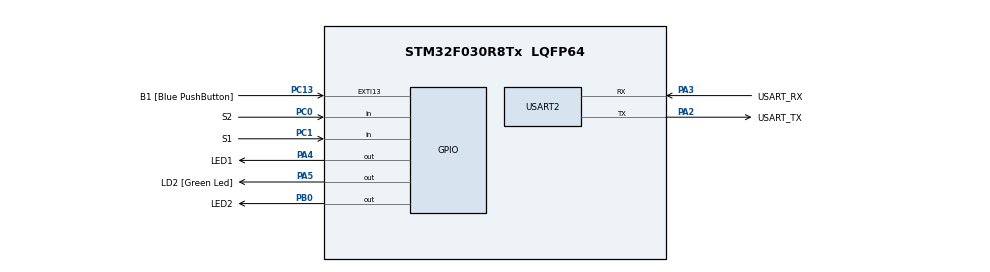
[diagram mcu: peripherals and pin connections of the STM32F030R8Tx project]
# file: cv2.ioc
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Mcu.Family=STM32F0
Mcu.Name=STM32F030R8Tx
Mcu.Package=LQFP64
PA13.GPIO_Label=TMS
PA13.Mode=Serial_Wire
PA13.Signal=SYS_SWDIO
PA14.GPIO_Label=TCK
PA14.Mode=Serial_Wire
PA14.Signal=SYS_SWCLK
PA2.GPIO_Label=USART_TX
PA2.GPIO_Mode=GPIO_MODE_AF_PP
PA2.GPIO_PuPd=GPIO_NOPULL
PA2.GPIO_Speed=GPIO_SPEED_FREQ_LOW
PA2.Mode=Asynchronous
PA2.Signal=USART2_TX
PA3.GPIO_Label=USART_RX
PA3.GPIO_Mode=GPIO_MODE_AF_PP
PA3.GPIO_PuPd=GPIO_NOPULL
PA3.GPIO_Speed=GPIO_SPEED_FREQ_LOW
PA3.Mode=Asynchronous
PA3.Signal=USART2_RX
PA4.GPIO_Label=LED1
PA4.Signal=GPIO_Output
PA5.GPIO_Label=LD2 [Green Led]
PA5.GPIO_Mode=GPIO_MODE_OUTPUT_PP
PA5.GPIO_PuPd=GPIO_NOPULL
PA5.GPIO_Speed=GPIO_SPEED_FREQ_LOW
PA5.Signal=GPIO_Output
PB0.GPIO_Label=LED2
PB0.Signal=GPIO_Output
PC0.GPIO_Label=S2
PC0.GPIO_PuPd=GPIO_PULLUP
PC0.Signal=GPIO_Input
PC1.GPIO_Label=S1
PC1.GPIO_PuPd=GPIO_PULLUP
PC1.Signal=GPIO_Input
PC13.GPIO_Label=B1 [Blue PushButton]
PC13.GPIO_ModeDefaultEXTI=GPIO_MODE_IT_FALLING
PC13.Signal=GPXTI13
PC14-OSC32_IN.Mode=LSE-External-Oscillator
PC14-OSC32_IN.Signal=RCC_OSC32_IN
PC15-OSC32_OUT.Mode=LSE-External-Oscillator
PC15-OSC32_OUT.Signal=RCC_OSC32_OUT
PF0-OSC_IN.Mode=HSE-External-Clock-Source
PF0-OSC_IN.Signal=RCC_OSC_IN
PF1-OSC_OUT.Signal=RCC_OSC_OUT
ProjectManager.HeapSize=0x200
ProjectManager.StackSize=0x400
ProjectManager.TargetToolchain=STM32CubeIDE
RCC.AHBFreq_Value=48000000
RCC.APB1Freq_Value=48000000
RCC.APB1TimFreq_Value=48000000
RCC.HCLKFreq_Value=48000000
RCC.PLLMUL=RCC_PLL_MUL12
RCC.SYSCLKFreq_VALUE=48000000
RCC.SYSCLKSource=RCC_SYSCLKSOURCE_PLLCLK
USART2.VirtualMode-Asynchronous=VM_ASYNC
board=NUCLEO-F030R8

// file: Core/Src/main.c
/* USER CODE BEGIN Header */
/**
  ******************************************************************************
  * @file           : main.c
  * @brief          : Main program body
  ******************************************************************************
  * @attention
  *
  * Copyright (c) 2025 STMicroelectronics.
  * All rights reserved.
  *
  * This software is licensed under terms that can be found in the LICENSE file
  * in the root directory of this software component.
  * If no LICENSE file comes with this software, it is provided AS-IS.
  *
  ******************************************************************************
  */
/* USER CODE END Header */
#include "main.h"

/* USER CODE BEGIN PD */
#define LED_TIME_BLINK 300
#define LED_TIME_SHORT 40
#define LED_TIME_LONG 1000

void blink()
{
	static uint32_t delay;
	if (Tick > delay + LED_TIME_BLINK) {
		LL_GPIO_TogglePin(LED1_GPIO_Port, LED1_Pin);
		delay = Tick;
	}
}

void button()
{
	static uint32_t delay2;
	static uint32_t delay3;
	static uint32_t off_time1;

	static uint16_t debounce = 0xFFFF;

	if (Tick > delay3 + 5)
	{
		debounce <<= 1;
		debounce |= LL_GPIO_IsInputPinSet(S2_GPIO_Port, S2_Pin);

		if (debounce == 0x7FFF)
		{
			LL_GPIO_SetOutputPin(LED2_GPIO_Port, LED2_Pin);
			off_time1 = Tick + LED_TIME_SHORT;
		}
		delay3 = Tick;
	}

	if (Tick > delay2 + LED_TIME_SHORT)
	{
		static uint32_t old_s2;
		uint32_t new_s2 = LL_GPIO_IsInputPinSet(S1_GPIO_Port, S1_Pin);
		if (old_s2 && !new_s2) { // falling edge
			off_time1 = Tick + LED_TIME_SHORT;
			LL_GPIO_SetOutputPin(LED2_GPIO_Port, LED2_Pin);
		}
		old_s2 = new_s2;
		delay2 = Tick;
	}

//	if (Tick > delay3 + LED_TIME_SHORT)
//	{
//		static uint32_t old_s1;
//		uint32_t new_s1 = LL_GPIO_IsInputPinSet(S2_GPIO_Port, S2_Pin);
//		if (old_s1 && !new_s1) { // falling edge
//			off_time1 = Tick + LED_TIME_LONG;
//			LL_GPIO_SetOutputPin(LED2_GPIO_Port, LED2_Pin);
//		}
//		old_s1 = new_s1;
//		delay3 = Tick;
//	}

	if (Tick > off_time1) {
		LL_GPIO_ResetOutputPin(LED2_GPIO_Port, LED2_Pin);
	}

}
/* USER CODE END PD */

/* USER CODE BEGIN PV */
volatile uint32_t Tick;

/* USER CODE END PV */

void SystemClock_Config(void);
static void MX_GPIO_Init(void);
static void MX_USART2_UART_Init(void);

int main(void)
{

  /* MCU Configuration--------------------------------------------------------*/

  /* Reset of all peripherals, Initializes the Flash interface and the Systick. */
  LL_APB1_GRP2_EnableClock(LL_APB1_GRP2_PERIPH_SYSCFG);
  LL_APB1_GRP1_EnableClock(LL_APB1_GRP1_PERIPH_PWR);

  /* Configure the system clock */
  SystemClock_Config();

  /* Initialize all configured peripherals */
  MX_GPIO_Init();
  MX_USART2_UART_Init();
  /* USER CODE BEGIN 2 */
  LL_SYSTICK_EnableIT();
  /* USER CODE END 2 */

  /* Infinite loop */
  /* USER CODE BEGIN WHILE */
  while (1)
  {
	  blink();
	  button();
    /* USER CODE END WHILE */

  }
}

void SystemClock_Config(void)
{
  LL_FLASH_SetLatency(LL_FLASH_LATENCY_1);
  while(LL_FLASH_GetLatency() != LL_FLASH_LATENCY_1)
  {
  }
  LL_RCC_HSI_Enable();

   /* Wait till HSI is ready */
  while(LL_RCC_HSI_IsReady() != 1)
  {

  }
  LL_RCC_HSI_SetCalibTrimming(16);
  LL_RCC_PLL_ConfigDomain_SYS(LL_RCC_PLLSOURCE_HSI_DIV_2, LL_RCC_PLL_MUL_12);
  LL_RCC_PLL_Enable();

   /* Wait till PLL is ready */
  while(LL_RCC_PLL_IsReady() != 1)
  {

  }
  LL_RCC_SetAHBPrescaler(LL_RCC_SYSCLK_DIV_1);
  LL_RCC_SetAPB1Prescaler(LL_RCC_APB1_DIV_1);
  LL_RCC_SetSysClkSource(LL_RCC_SYS_CLKSOURCE_PLL);

   /* Wait till System clock is ready */
  while(LL_RCC_GetSysClkSource() != LL_RCC_SYS_CLKSOURCE_STATUS_PLL)
  {

  }
  LL_Init1msTick(48000000);
  LL_SetSystemCoreClock(48000000);
}

static void MX_USART2_UART_Init(void)
{

  LL_USART_InitTypeDef USART_InitStruct = {0};

  LL_GPIO_InitTypeDef GPIO_InitStruct = {0};

  /* Peripheral clock enable */
  LL_APB1_GRP1_EnableClock(LL_APB1_GRP1_PERIPH_USART2);

  LL_AHB1_GRP1_EnableClock(LL_AHB1_GRP1_PERIPH_GPIOA);
  /**USART2 GPIO Configuration
  PA2   ------> USART2_TX
  PA3   ------> USART2_RX
  */
  GPIO_InitStruct.Pin = USART_TX_Pin;
  GPIO_InitStruct.Mode = LL_GPIO_MODE_ALTERNATE;
  GPIO_InitStruct.Speed = LL_GPIO_SPEED_FREQ_LOW;
  GPIO_InitStruct.OutputType = LL_GPIO_OUTPUT_PUSHPULL;
  GPIO_InitStruct.Pull = LL_GPIO_PULL_NO;
  GPIO_InitStruct.Alternate = LL_GPIO_AF_1;
  LL_GPIO_Init(USART_TX_GPIO_Port, &GPIO_InitStruct);

  GPIO_InitStruct.Pin = USART_RX_Pin;
  GPIO_InitStruct.Mode = LL_GPIO_MODE_ALTERNATE;
  GPIO_InitStruct.Speed = LL_GPIO_SPEED_FREQ_LOW;
  GPIO_InitStruct.OutputType = LL_GPIO_OUTPUT_PUSHPULL;
  GPIO_InitStruct.Pull = LL_GPIO_PULL_NO;
  GPIO_InitStruct.Alternate = LL_GPIO_AF_1;
  LL_GPIO_Init(USART_RX_GPIO_Port, &GPIO_InitStruct);

  USART_InitStruct.BaudRate = 38400;
  USART_InitStruct.DataWidth = LL_USART_DATAWIDTH_8B;
  USART_InitStruct.StopBits = LL_USART_STOPBITS_1;
  USART_InitStruct.Parity = LL_USART_PARITY_NONE;
  USART_InitStruct.TransferDirection = LL_USART_DIRECTION_TX_RX;
  USART_InitStruct.HardwareFlowControl = LL_USART_HWCONTROL_NONE;
  USART_InitStruct.OverSampling = LL_USART_OVERSAMPLING_16;
  LL_USART_Init(USART2, &USART_InitStruct);
  LL_USART_DisableIT_CTS(USART2);
  LL_USART_ConfigAsyncMode(USART2);
  LL_USART_Enable(USART2);

}

static void MX_GPIO_Init(void)
{
  LL_EXTI_InitTypeDef EXTI_InitStruct = {0};
  LL_GPIO_InitTypeDef GPIO_InitStruct = {0};

  /* GPIO Ports Clock Enable */
  LL_AHB1_GRP1_EnableClock(LL_AHB1_GRP1_PERIPH_GPIOC);
  LL_AHB1_GRP1_EnableClock(LL_AHB1_GRP1_PERIPH_GPIOF);
  LL_AHB1_GRP1_EnableClock(LL_AHB1_GRP1_PERIPH_GPIOA);
  LL_AHB1_GRP1_EnableClock(LL_AHB1_GRP1_PERIPH_GPIOB);

  /**/
  LL_GPIO_ResetOutputPin(LED1_GPIO_Port, LED1_Pin);

  /**/
  LL_GPIO_ResetOutputPin(LD2_GPIO_Port, LD2_Pin);

  /**/
  LL_GPIO_ResetOutputPin(LED2_GPIO_Port, LED2_Pin);

  /**/
  LL_SYSCFG_SetEXTISource(LL_SYSCFG_EXTI_PORTC, LL_SYSCFG_EXTI_LINE13);

  /**/
  LL_GPIO_SetPinPull(B1_GPIO_Port, B1_Pin, LL_GPIO_PULL_NO);

  /**/
  LL_GPIO_SetPinMode(B1_GPIO_Port, B1_Pin, LL_GPIO_MODE_INPUT);

  /**/
  EXTI_InitStruct.Line_0_31 = LL_EXTI_LINE_13;
  EXTI_InitStruct.LineCommand = ENABLE;
  EXTI_InitStruct.Mode = LL_EXTI_MODE_IT;
  EXTI_InitStruct.Trigger = LL_EXTI_TRIGGER_FALLING;
  LL_EXTI_Init(&EXTI_InitStruct);

  /**/
  GPIO_InitStruct.Pin = S2_Pin;
  GPIO_InitStruct.Mode = LL_GPIO_MODE_INPUT;
  GPIO_InitStruct.Pull = LL_GPIO_PULL_UP;
  LL_GPIO_Init(S2_GPIO_Port, &GPIO_InitStruct);

  /**/
  GPIO_InitStruct.Pin = S1_Pin;
  GPIO_InitStruct.Mode = LL_GPIO_MODE_INPUT;
  GPIO_InitStruct.Pull = LL_GPIO_PULL_UP;
  LL_GPIO_Init(S1_GPIO_Port, &GPIO_InitStruct);

  /**/
  GPIO_InitStruct.Pin = LED1_Pin;
  GPIO_InitStruct.Mode = LL_GPIO_MODE_OUTPUT;
  GPIO_InitStruct.Speed = LL_GPIO_SPEED_FREQ_LOW;
  GPIO_InitStruct.OutputType = LL_GPIO_OUTPUT_PUSHPULL;
  GPIO_InitStruct.Pull = LL_GPIO_PULL_NO;
  LL_GPIO_Init(LED1_GPIO_Port, &GPIO_InitStruct);

  /**/
  GPIO_InitStruct.Pin = LD2_Pin;
  GPIO_InitStruct.Mode = LL_GPIO_MODE_OUTPUT;
  GPIO_InitStruct.Speed = LL_GPIO_SPEED_FREQ_LOW;
  GPIO_InitStruct.OutputType = LL_GPIO_OUTPUT_PUSHPULL;
  GPIO_InitStruct.Pull = LL_GPIO_PULL_NO;
  LL_GPIO_Init(LD2_GPIO_Port, &GPIO_InitStruct);

  /**/
  GPIO_InitStruct.Pin = LED2_Pin;
  GPIO_InitStruct.Mode = LL_GPIO_MODE_OUTPUT;
  GPIO_InitStruct.Speed = LL_GPIO_SPEED_FREQ_LOW;
  GPIO_InitStruct.OutputType = LL_GPIO_OUTPUT_PUSHPULL;
  GPIO_InitStruct.Pull = LL_GPIO_PULL_NO;
  LL_GPIO_Init(LED2_GPIO_Port, &GPIO_InitStruct);

}

void Error_Handler(void)
{
  __disable_irq();
  while (1)
  {
  }
}
